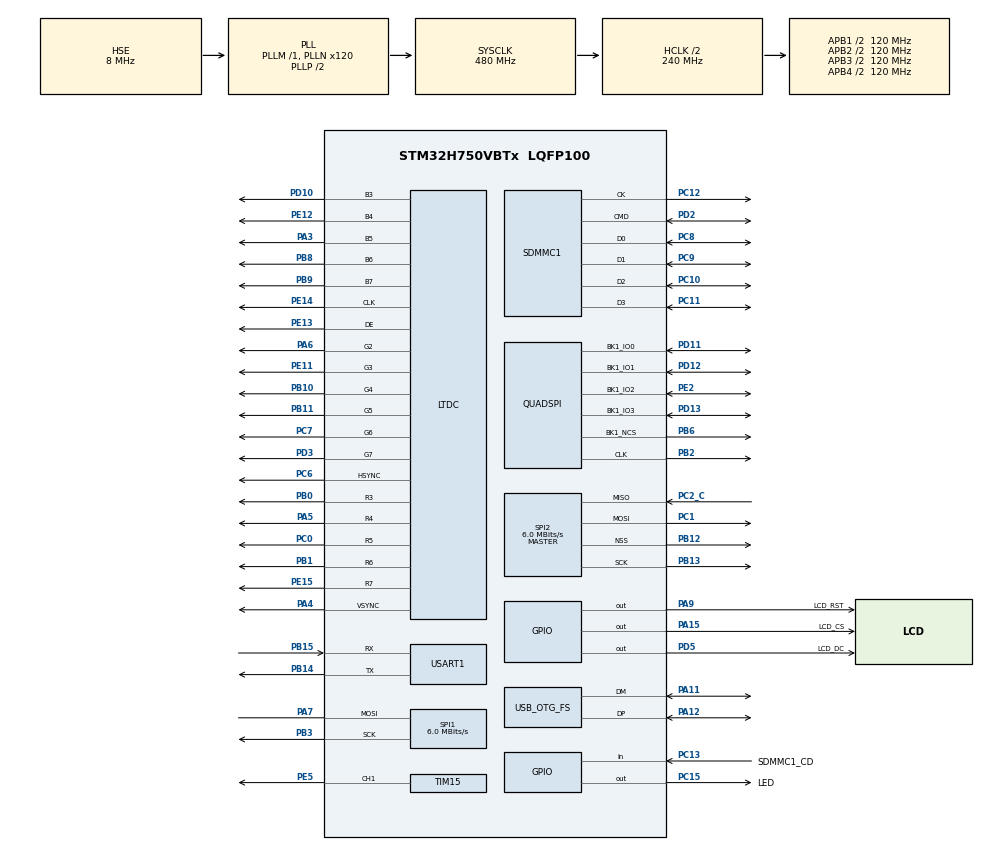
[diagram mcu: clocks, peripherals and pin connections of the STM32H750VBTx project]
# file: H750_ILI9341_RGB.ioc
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SPI1.VirtualType=VM_MASTER
SPI2.VirtualType=VM_MASTER
PB10.Mode=RGB565
PC12.Signal=SDMMC1_CK
RCC.PLLFRACN=0
PA15\ (JTDI).Signal=GPIO_Output
PB13.Signal=SPI2_SCK
RCC.SYSCLKSource=RCC_SYSCLKSOURCE_PLLCLK
PA14\ (JTCK/SWCLK).Signal=DEBUG_JTCK-SWCLK
PA4.Mode=RGB565
NVIC.DMA2D_IRQn=true\:0\:0\:false\:false\:true\:true\:true
SPI1.Direction=SPI_DIRECTION_1LINE
PE2.Mode=Single Bank 1
PB6.Signal=QUADSPI_BK1_NCS
PC7.Signal=LTDC_G6
PB6.Mode=Single Bank 1
SPI1.CalculateBaudRate=6.0 MBits/s
PE5.Signal=S_TIM15_CH1
PB2.Signal=QUADSPI_CLK
RCC.DIVM3=4
RCC.DIVM2=1
RCC.DIVM1=1
LTDC.PixelFormat_L0=LTDC_PIXEL_FORMAT_RGB565
LTDC.PixelFormat_L1=LTDC_PIXEL_FORMAT_RGB565
PB14.Mode=Asynchronous
SPI1.DataSize=SPI_DATASIZE_8BIT
PC9.Mode=SD_4_bits_Wide_bus
SPI2.CalculateBaudRate=6.0 MBits/s
PE2.Signal=QUADSPI_BK1_IO2
PA14\ (JTCK/SWCLK).Mode=Serial_Wire
PE13.Mode=RGB565
PD3.Mode=RGB565
LTDC.HSync=10
Mcu.Package=LQFP100
PB9.Signal=LTDC_B7
PB1.Signal=LTDC_R6
SPI2.Mode=SPI_MODE_MASTER
PD12.Signal=QUADSPI_BK1_IO1
PC11.Mode=SD_4_bits_Wide_bus
LTDC.VSync=2
RCC.APB4Freq_Value=120000000
VP_DMA2D_VS_DMA2D.Mode=DMA2D_Activate
PB13.Mode=Full_Duplex_Master
PH0-OSC_IN\ (PH0).Mode=HSE-External-Oscillator
TIM15.Channel-PWM\ Generation1\ CH1=TIM_CHANNEL_1
PA5.Mode=RGB565
PE12.Mode=RGB565
RCC.DIVQ1=20
PA9.GPIO_Label=LCD_RST
PC13.Signal=GPIO_Input
PD3.Signal=LTDC_G7
PC6.Signal=LTDC_HSYNC
PC0.Signal=LTDC_R5
LTDC.ImageWidth_L1=240
LTDC.ImageWidth_L0=240
PD10.Signal=LTDC_B3
PA3.Mode=RGB565
PB11.Mode=RGB565
PC6.Mode=RGB565
PA9.Signal=GPIO_Output
RCC.DIVN3=75
RCC.DIVN2=30
RCC.DIVN1=120
PC2_C.Mode=Full_Duplex_Master
PB10.Signal=LTDC_G4
PB14.Signal=USART1_TX
PA5.Signal=LTDC_R4
PC12.Mode=SD_4_bits_Wide_bus
SH.S_TIM15_CH1.0=TIM15_CH1,PWM Generation1 CH1
PE14.Signal=LTDC_CLK
PE15.Signal=LTDC_R7
SPI1.Mode=SPI_MODE_MASTER
PC8.Mode=SD_4_bits_Wide_bus
PA4.Signal=LTDC_VSYNC
PD12.Mode=Single Bank 1
PD11.Signal=QUADSPI_BK1_IO0
LTDC.Alpha_L1=0xFF
LTDC.Alpha_L0=0xFF
PA11.Signal=USB_OTG_FS_DM
ProjectManager.HeapSize=0x2000
PB1.Mode=RGB565
NVIC.PriorityGroup=NVIC_PRIORITYGROUP_4
PB3\ (JTDO/TRACESWO).Mode=Simplex_Bidirectional_Master
PB8.Mode=RGB565
SPI2.DataSize=SPI_DATASIZE_8BIT
PD2.Signal=SDMMC1_CMD
RCC.DIVR3=11
RCC.DIVR2=10
PB0.Signal=LTDC_R3
PC1.Signal=SPI2_MOSI
PA13\ (JTMS/SWDIO).Signal=DEBUG_JTMS-SWDIO
PC1.Mode=Full_Duplex_Master
PE15.Mode=RGB565
Mcu.Family=STM32H7
LTDC.BlendingFactor1_L1=LTDC_BLENDING_FACTOR1_CA
LTDC.BlendingFactor1_L0=LTDC_BLENDING_FACTOR1_CA
PA6.Mode=RGB565
SPI2.VirtualNSS=VM_NSSHARD
RCC.CortexFreq_Value=480000000
RCC.HPRE=RCC_HCLK_DIV2
PH0-OSC_IN\ (PH0).Signal=RCC_OSC_IN
LTDC.HBP=20
PC10.Signal=SDMMC1_D2
PA11.Mode=Device_Only
RCC.PLL2FRACN=0
PC13.GPIO_Label=SDMMC1_CD
PB11.Signal=LTDC_G5
PB15.Signal=USART1_RX
ProjectManager.StackSize=0x4000
PD13.Signal=QUADSPI_BK1_IO3
PA12.Signal=USB_OTG_FS_DP
PE11.Mode=RGB565
RCC.HCLKFreq_Value=240000000
LTDC.WindowX1_L1=240
LTDC.WindowX1_L0=240
PD10.Mode=RGB565
PC2_C.Signal=SPI2_MISO
SPI2.BaudRatePrescaler=SPI_BAUDRATEPRESCALER_8
PH1-OSC_OUT\ (PH1).Mode=HSE-External-Oscillator
RCC.HSE_VALUE=8000000
PE13.Signal=LTDC_DE
LTDC.HFP=10
LTDC.BlendingFactor2_L0=LTDC_BLENDING_FACTOR2_CA
LTDC.BlendingFactor2_L1=LTDC_BLENDING_FACTOR2_CA
DMA2D.ColorMode=DMA2D_OUTPUT_RGB565
LTDC.ActiveW=240
RCC.APB3Freq_Value=120000000
PA6.Signal=LTDC_G2
PB12.Mode=NSS_Signal_Hard_Output
RCC.D1PPRE=RCC_APB3_DIV2
RCC.SDMMC1CLockSelection=RCC_SDMMCCLKSOURCE_PLL2
PD5.GPIO_Label=LCD_DC
USB_OTG_FS.VirtualMode=Device_Only
SPI2.Direction=SPI_DIRECTION_2LINES
SPI1.BaudRatePrescaler=SPI_BAUDRATEPRESCALER_8
PA3.Signal=LTDC_B5
LTDC.FBStartAdress_L0=0x24000000
LTDC.VFP=4
LTDC.FBStartAdress_L1=0x24025800
LTDC.WindowY1_L0=320
PA7.Mode=Simplex_Bidirectional_Master
LTDC.WindowY1_L1=320
PA13\ (JTMS/SWDIO).Mode=Serial_Wire
PC11.Signal=SDMMC1_D3
PC8.Signal=SDMMC1_D0
PC10.Mode=SD_4_bits_Wide_bus
RCC.D2PPRE2=RCC_APB2_DIV2
RCC.D2PPRE1=RCC_APB1_DIV2
PD5.Signal=GPIO_Output
VP_RNG_VS_RNG.Mode=RNG_Activate
PH1-OSC_OUT\ (PH1).Signal=RCC_OSC_OUT
PC0.Mode=RGB565
USART1.VirtualMode-Asynchronous=VM_ASYNC
PB3\ (JTDO/TRACESWO).Signal=SPI1_SCK
ProjectManager.TargetToolchain=Makefile
PC15-OSC32_OUT\ (OSC32_OUT).Signal=GPIO_Output
LTDC.ActiveH=320
PB9.Mode=RGB565
PD13.Mode=Single Bank 1
RCC.USBFreq_Value=48000000
PE11.Signal=LTDC_G3
PD2.Mode=SD_4_bits_Wide_bus
PB0.Mode=RGB565
board=custom
PB15.Mode=Asynchronous
RCC.APB2Freq_Value=120000000
LTDC.Layers=1
PE14.Mode=RGB565
RCC.ADCFreq_Value=120000000
PA15\ (JTDI).GPIO_Label=LCD_CS
Mcu.Name=STM32H750VBTx
PE12.Signal=LTDC_B4
RCC.SYSCLKFreq_VALUE=480000000
PA12.Mode=Device_Only
PC15-OSC32_OUT\ (OSC32_OUT).GPIO_Label=LED
PB2.Mode=Single Bank 1
RCC.QSPICLockSelection=RCC_QSPICLKSOURCE_PLL2
VP_TIM15_VS_ClockSourceINT.Mode=Internal
PD11.Mode=Single Bank 1
PB8.Signal=LTDC_B6
RCC.D3PPRE=RCC_APB4_DIV2
PC9.Signal=SDMMC1_D1
PC7.Mode=RGB565
RCC.APB1Freq_Value=120000000
LTDC.ImageHeight_L0=320
LTDC.ImageHeight_L1=320
DMA2D.Mode=DMA2D_M2M
PB12.Signal=SPI2_NSS
PA7.Signal=SPI1_MOSI

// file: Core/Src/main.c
/* USER CODE BEGIN Header */
/**
  ******************************************************************************
  * @file           : main.c
  * @brief          : Main program body
  ******************************************************************************
  * @attention
  *
  * <h2><center>&copy; Copyright (c) 2020 STMicroelectronics.
  * All rights reserved.</center></h2>
  *
  * This software component is licensed by ST under BSD 3-Clause license,
  * the "License"; You may not use this file except in compliance with the
  * License. You may obtain a copy of the License at:
  *                        opensource.org/licenses/BSD-3-Clause
  *
  ******************************************************************************
  */
/* USER CODE END Header */
#include "main.h"
#include "dma2d.h"
#include "ltdc.h"
#include "quadspi.h"
#include "rng.h"
#include "sdmmc.h"
#include "spi.h"
#include "tim.h"
#include "usart.h"
#include "usb_otg.h"
#include "gpio.h"

/* USER CODE BEGIN Includes */
// #include "ili9341_RGB.h"
#include "H750_ILI9341_RGB.h"
#include "English.h"
#include "Hangle.h"

/* USER CODE END Includes */

/* USER CODE BEGIN PV */
uint32_t i;
volatile uint16_t *LCD;

/* USER CODE END PV */

void SystemClock_Config(void);

/* USER CODE BEGIN 0 */
void HAL_SYSTICK_Callback(void)
{
	static int cnt = -1000;

	cnt++;
	if(cnt > 500)
	{
		cnt = 0;

		HAL_GPIO_TogglePin(LED_GPIO_Port, LED_Pin);
	}
}

void Demo_Color(void)
{
	ILI9341_Clear(RED);
  HAL_Delay(1000);
  ILI9341_Clear(GREEN);
  HAL_Delay(1000);
  ILI9341_Clear(BLUE);
}

void Demo_Line(void)
{
	uint16_t i, x1, y1, x2, y2, color, w, h;
	uint32_t rn;

	w = ILI9341_GetLcdPixelWidth();
	h = ILI9341_GetLcdPixelHeight();

	ILI9341_Clear(WHITE);

	for(i = 0; i < 5000; i++)
	{
		HAL_RNG_GenerateRandomNumber(&hrng, &rn);
		x1 = rn % w;
		HAL_RNG_GenerateRandomNumber(&hrng, &rn);
		y1 = rn % h;
		HAL_RNG_GenerateRandomNumber(&hrng, &rn);
		x2 = rn % w;
		HAL_RNG_GenerateRandomNumber(&hrng, &rn);
		y2 = rn % h;
		HAL_RNG_GenerateRandomNumber(&hrng, &rn);
		color = rn % 0x10000;

		ILI9341_DrawLine(x1, y1, x2, y2, color);
	}
}

void Demo_Circle(void)
{
	uint16_t i, x, y, r, color, w, h;
	uint32_t rn;

	w = ILI9341_GetLcdPixelWidth();
	h = ILI9341_GetLcdPixelHeight();

	ILI9341_Clear(WHITE);

	for(i = 0; i < 5000; i++)
	{
		HAL_RNG_GenerateRandomNumber(&hrng, &rn);
		x = rn % w;
		HAL_RNG_GenerateRandomNumber(&hrng, &rn);
		y = rn % h;
		HAL_RNG_GenerateRandomNumber(&hrng, &rn);
		r = rn % 100;
		HAL_RNG_GenerateRandomNumber(&hrng, &rn);
		color = rn % 0x10000;

		ILI9341_DrawCircle(x, y, r, color);
	}
}

void Demo_Fill(void)
{
	uint16_t i, x, y, w, h, color, W, H;
	uint32_t rn;

	W = ILI9341_GetLcdPixelWidth();
	H = ILI9341_GetLcdPixelHeight();

	ILI9341_Clear(WHITE);

	for(i = 0; i < 5000; i++)
	{
		HAL_RNG_GenerateRandomNumber(&hrng, &rn);
		x = rn % W;
		HAL_RNG_GenerateRandomNumber(&hrng, &rn);
		w = rn % W;
		HAL_RNG_GenerateRandomNumber(&hrng, &rn);
		y = rn % H;
		HAL_RNG_GenerateRandomNumber(&hrng, &rn);
		h = rn % H;
		HAL_RNG_GenerateRandomNumber(&hrng, &rn);
		color = rn % 0x10000;

		ILI9341_FillRect(x, y, w, h, color);
	}
}

void Demo_Text(void)
{
	ILI9341_Clear(YELLOW);

	LCD_Puts26x48(0, 0,   (uint8_t *)"Hello World.", TFT_STRING_MODE_BACKGROUND);
	LCD_Puts18x32(0, 48,  (uint8_t *)"Hello World.", TFT_STRING_MODE_BACKGROUND);
	LCD_Puts14x24(0, 80,  (uint8_t *)"Hello World.", TFT_STRING_MODE_BACKGROUND);
	LCD_Puts8x16( 0, 104, (uint8_t *)"Hello World.", TFT_STRING_MODE_BACKGROUND);

	LCD_SetTextColor(BLUE);
	LCD_SetBackgroundColor(GREEN);
	LCD_Puts14x24(0, 120,  (uint8_t *)"Blue Text.", TFT_STRING_MODE_BACKGROUND);
	LCD_Puts14x24(0, 150,  (uint8_t *)"No Background Text.", TFT_STRING_MODE_NO_BACKGROUND);

	DisplayHangle(0, 180, "한글입니다. ABCDEFG");
}

/* USER CODE END 0 */

int main(void)
{

  /* MCU Configuration--------------------------------------------------------*/

  /* Reset of all peripherals, Initializes the Flash interface and the Systick. */
  HAL_Init();

  /* Configure the system clock */
  SystemClock_Config();

  /* Initialize all configured peripherals */
  MX_GPIO_Init();
  MX_QUADSPI_Init();
  MX_SDMMC1_SD_Init();
  MX_USART1_UART_Init();
  MX_USB_OTG_FS_PCD_Init();
  MX_LTDC_Init();
  MX_SPI1_Init();
  MX_SPI2_Init();
  MX_TIM15_Init();
  MX_DMA2D_Init();
  MX_RNG_Init();
  /* USER CODE BEGIN 2 */
	ILI9341_Init();		//initial driver setup to drive ili9341

	ILI9341_SelectLayer(1);

  Demo_Color();
  HAL_Delay(1000);
  Demo_Line();
  HAL_Delay(1000);
  Demo_Circle();
  HAL_Delay(1000);
  Demo_Fill();
  HAL_Delay(1000);
  Demo_Text();
  HAL_Delay(3500);

  // Frame Buffer에 직접 써보자.
  // LCD = (volatile uint16_t *)0x24000000;			// Layer 0
	LCD = (volatile uint16_t *)0x24025800;				// Layer 1
	for(i = 0; i < 240 * 80; i++) LCD[i] = RED;
	for(i = 0; i < 240 * 80; i++) LCD[i + 240 * 80] = GREEN;
	for(i = 0; i < 240 * 80; i++) LCD[i + 240 * 80 * 2] = BLUE;
	for(i = 0; i < 240 * 80; i++) LCD[i + 240 * 80 * 3] = YELLOW;

  /* USER CODE END 2 */

  /* Infinite loop */
  while (1)
  {

  }
}

void SystemClock_Config(void)
{
  RCC_OscInitTypeDef RCC_OscInitStruct = {0};
  RCC_ClkInitTypeDef RCC_ClkInitStruct = {0};
  RCC_PeriphCLKInitTypeDef PeriphClkInitStruct = {0};

  /** Supply configuration update enable
  */
  HAL_PWREx_ConfigSupply(PWR_LDO_SUPPLY);
  /** Configure the main internal regulator output voltage
  */
  __HAL_PWR_VOLTAGESCALING_CONFIG(PWR_REGULATOR_VOLTAGE_SCALE0);

  while(!__HAL_PWR_GET_FLAG(PWR_FLAG_VOSRDY)) {}
  /** Macro to configure the PLL clock source
  */
  __HAL_RCC_PLL_PLLSOURCE_CONFIG(RCC_PLLSOURCE_HSE);
  /** Initializes the RCC Oscillators according to the specified parameters
  * in the RCC_OscInitTypeDef structure.
  */
  RCC_OscInitStruct.OscillatorType = RCC_OSCILLATORTYPE_HSI48|RCC_OSCILLATORTYPE_HSE;
  RCC_OscInitStruct.HSEState = RCC_HSE_ON;
  RCC_OscInitStruct.HSI48State = RCC_HSI48_ON;
  RCC_OscInitStruct.PLL.PLLState = RCC_PLL_ON;
  RCC_OscInitStruct.PLL.PLLSource = RCC_PLLSOURCE_HSE;
  RCC_OscInitStruct.PLL.PLLM = 1;
  RCC_OscInitStruct.PLL.PLLN = 120;
  RCC_OscInitStruct.PLL.PLLP = 2;
  RCC_OscInitStruct.PLL.PLLQ = 20;
  RCC_OscInitStruct.PLL.PLLR = 2;
  RCC_OscInitStruct.PLL.PLLRGE = RCC_PLL1VCIRANGE_3;
  RCC_OscInitStruct.PLL.PLLVCOSEL = RCC_PLL1VCOWIDE;
  RCC_OscInitStruct.PLL.PLLFRACN = 0;
  if (HAL_RCC_OscConfig(&RCC_OscInitStruct) != HAL_OK)
  {
    Error_Handler();
  }
  /** Initializes the CPU, AHB and APB buses clocks
  */
  RCC_ClkInitStruct.ClockType = RCC_CLOCKTYPE_HCLK|RCC_CLOCKTYPE_SYSCLK
                              |RCC_CLOCKTYPE_PCLK1|RCC_CLOCKTYPE_PCLK2
                              |RCC_CLOCKTYPE_D3PCLK1|RCC_CLOCKTYPE_D1PCLK1;
  RCC_ClkInitStruct.SYSCLKSource = RCC_SYSCLKSOURCE_PLLCLK;
  RCC_ClkInitStruct.SYSCLKDivider = RCC_SYSCLK_DIV1;
  RCC_ClkInitStruct.AHBCLKDivider = RCC_HCLK_DIV2;
  RCC_ClkInitStruct.APB3CLKDivider = RCC_APB3_DIV2;
  RCC_ClkInitStruct.APB1CLKDivider = RCC_APB1_DIV2;
  RCC_ClkInitStruct.APB2CLKDivider = RCC_APB2_DIV2;
  RCC_ClkInitStruct.APB4CLKDivider = RCC_APB4_DIV2;

  if (HAL_RCC_ClockConfig(&RCC_ClkInitStruct, FLASH_LATENCY_4) != HAL_OK)
  {
    Error_Handler();
  }
  PeriphClkInitStruct.PeriphClockSelection = RCC_PERIPHCLK_LTDC|RCC_PERIPHCLK_USART1
                              |RCC_PERIPHCLK_RNG|RCC_PERIPHCLK_SPI1
                              |RCC_PERIPHCLK_SPI2|RCC_PERIPHCLK_SDMMC
                              |RCC_PERIPHCLK_USB|RCC_PERIPHCLK_QSPI;
  PeriphClkInitStruct.PLL2.PLL2M = 1;
  PeriphClkInitStruct.PLL2.PLL2N = 30;
  PeriphClkInitStruct.PLL2.PLL2P = 2;
  PeriphClkInitStruct.PLL2.PLL2Q = 2;
  PeriphClkInitStruct.PLL2.PLL2R = 10;
  PeriphClkInitStruct.PLL2.PLL2RGE = RCC_PLL2VCIRANGE_3;
  PeriphClkInitStruct.PLL2.PLL2VCOSEL = RCC_PLL2VCOWIDE;
  PeriphClkInitStruct.PLL2.PLL2FRACN = 0;
  PeriphClkInitStruct.PLL3.PLL3M = 4;
  PeriphClkInitStruct.PLL3.PLL3N = 75;
  PeriphClkInitStruct.PLL3.PLL3P = 2;
  PeriphClkInitStruct.PLL3.PLL3Q = 2;
  PeriphClkInitStruct.PLL3.PLL3R = 11;
  PeriphClkInitStruct.PLL3.PLL3RGE = RCC_PLL3VCIRANGE_1;
  PeriphClkInitStruct.PLL3.PLL3VCOSEL = RCC_PLL3VCOMEDIUM;
  PeriphClkInitStruct.PLL3.PLL3FRACN = 0;
  PeriphClkInitStruct.QspiClockSelection = RCC_QSPICLKSOURCE_PLL2;
  PeriphClkInitStruct.SdmmcClockSelection = RCC_SDMMCCLKSOURCE_PLL2;
  PeriphClkInitStruct.Spi123ClockSelection = RCC_SPI123CLKSOURCE_PLL;
  PeriphClkInitStruct.Usart16ClockSelection = RCC_USART16CLKSOURCE_D2PCLK2;
  PeriphClkInitStruct.RngClockSelection = RCC_RNGCLKSOURCE_HSI48;
  PeriphClkInitStruct.UsbClockSelection = RCC_USBCLKSOURCE_PLL;
  if (HAL_RCCEx_PeriphCLKConfig(&PeriphClkInitStruct) != HAL_OK)
  {
    Error_Handler();
  }
  /** Enable USB Voltage detector
  */
  HAL_PWREx_EnableUSBVoltageDetector();
}

void Error_Handler(void)
{
}

/************************ (C) COPYRIGHT STMicroelectronics *****END OF FILE****/
